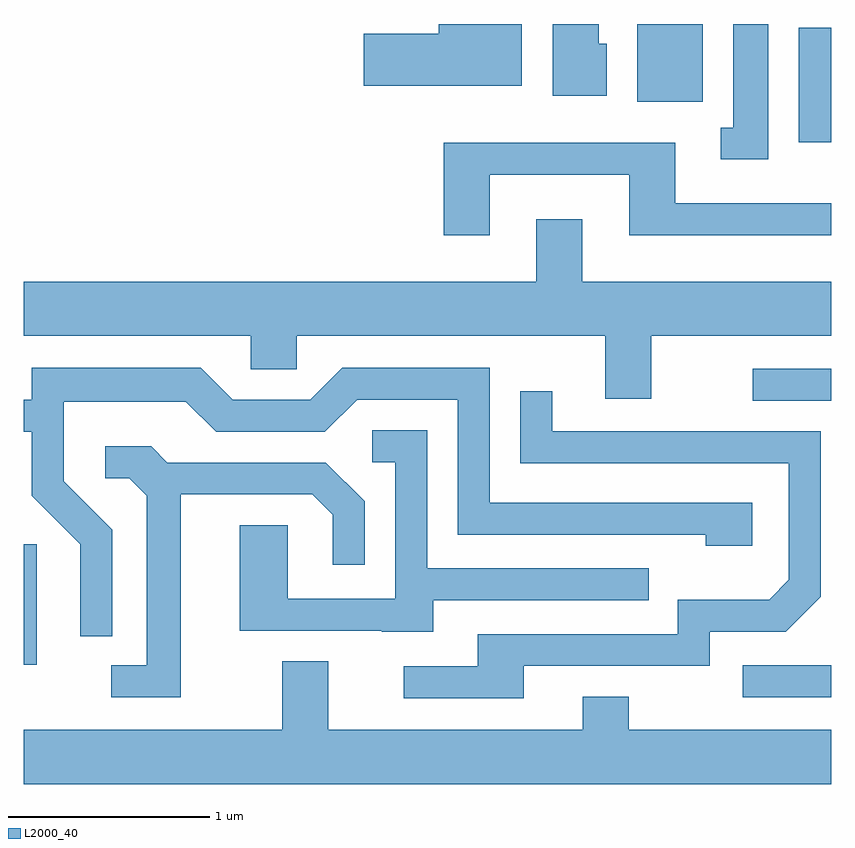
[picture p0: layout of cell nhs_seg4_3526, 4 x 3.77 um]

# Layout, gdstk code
import gdstk
lib = gdstk.Library(unit=1e-6, precision=1e-09)
def R(c, l, rs):  # rectangles x0, y0, x1, y1
    for r in rs: c.add(gdstk.rectangle(r[:2], r[2:], *l))
def P(c, l, *ps):  # polygons
    for p in ps: c.add(gdstk.Polygon(p, *l))
L2000_40 = (2000, 40)

nhs_seg4_3526 = lib.new_cell('nhs_seg4_3526')
R(nhs_seg4_3526, L2000_40, [(291.173,1370.646,291.611,1370.804), (287.611,1370.806,287.674,1371.404), (291.223,1372.116,291.611,1372.274), (291.451,1373.396,291.611,1373.964), (290.651,1373.596,290.974,1373.982)])
P(nhs_seg4_3526, L2000_40, [(291.299,1373.982),(291.126,1373.982),(291.126,1373.469),(291.063,1373.469),(291.063,1373.311),(291.299,1373.311)],
  [(290.499,1373.884),(290.459,1373.884),(290.459,1373.982),(290.231,1373.982),(290.231,1373.626),(290.499,1373.626)],
  [(290.079,1373.982),(289.666,1373.982),(289.666,1373.934),(289.296,1373.934),(289.296,1373.676),(290.079,1373.676)],
  [(289.919,1373.236),(290.611,1373.236),(290.611,1372.936),(291.611,1372.936),(291.611,1373.094),(290.839,1373.094),(290.839,1373.394),(289.691,1373.394),(289.691,1372.936),(289.919,1372.936)],
  [(287.611,1372.436),(288.736,1372.436),(288.736,1372.271),(288.964,1372.271),(288.964,1372.436),(290.491,1372.436),(290.491,1372.126),(290.719,1372.126),(290.719,1372.436),(291.611,1372.436),(291.611,1372.704),(290.379,1372.704),(290.379,1373.014),(290.151,1373.014),(290.151,1372.704),(287.611,1372.704)],
  [(288.049,1371.477),(287.809,1371.717),(287.809,1372.111),(288.414,1372.111),(288.564,1371.961),(289.102,1371.961),(289.262,1372.121),(289.761,1372.121),(289.761,1371.451),(290.991,1371.451),(290.991,1371.396),(291.219,1371.396),(291.219,1371.609),(289.919,1371.609),(289.919,1372.279),(289.189,1372.279),(289.029,1372.119),(288.647,1372.119),(288.487,1372.279),(287.651,1372.279),(287.651,1372.119),(287.611,1372.119),(287.611,1371.961),(287.651,1371.961),(287.651,1371.644),(287.891,1371.404),(287.891,1370.948),(288.049,1370.948)],
  [(290.089,1370.801),(291.009,1370.801),(291.009,1370.971),(291.387,1370.971),(291.559,1371.144),(291.559,1371.964),(290.229,1371.964),(290.229,1372.163),(290.071,1372.163),(290.071,1371.806),(291.401,1371.806),(291.401,1371.227),(291.304,1371.129),(290.851,1371.129),(290.851,1370.959),(289.861,1370.959),(289.861,1370.799),(289.493,1370.799),(289.493,1370.641),(290.089,1370.641)],
  [(289.639,1371.126),(290.708,1371.126),(290.708,1371.284),(289.609,1371.284),(289.609,1371.969),(289.338,1371.969),(289.338,1371.811),(289.451,1371.811),(289.451,1371.134),(288.919,1371.134),(288.919,1371.499),(288.681,1371.499),(288.681,1370.976),(289.385,1370.976),(289.385,1370.971),(289.639,1370.971)],
  [(288.389,1371.651),(289.039,1371.651),(289.141,1371.549),(289.141,1371.303),(289.299,1371.303),(289.299,1371.617),(289.107,1371.809),(288.322,1371.809),(288.242,1371.889),(288.013,1371.889),(288.013,1371.731),(288.134,1371.731),(288.221,1371.644),(288.221,1370.804),(288.043,1370.804),(288.043,1370.646),(288.389,1370.646)],
  [(290.381,1370.649),(290.381,1370.484),(289.119,1370.484),(289.119,1370.824),(288.891,1370.824),(288.891,1370.484),(287.611,1370.484),(287.611,1370.216),(291.611,1370.216),(291.611,1370.484),(290.609,1370.484),(290.609,1370.649)])

lib.write_gds('nhs_seg4_3526.gds')
